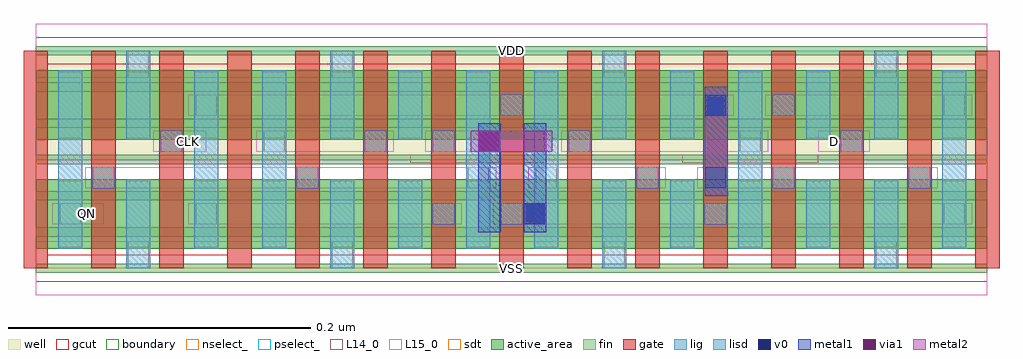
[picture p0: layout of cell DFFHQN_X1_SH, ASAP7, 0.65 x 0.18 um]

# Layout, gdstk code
import gdstk
lib = gdstk.Library(unit=1e-6, precision=1e-09)
def R(c, l, rs):  # rectangles x0, y0, x1, y1
    for r in rs: c.add(gdstk.rectangle(r[:2], r[2:], *l))
def A(c, l, x, y, w, h, nx, ny, dx, dy):  # array of equal rectangles
    R(c, l, [(x+i*dx, y+j*dy, x+i*dx+w, y+j*dy+h) for i in range(nx) for j in range(ny)])
def P(c, l, *ps):  # polygons
    for p in ps: c.add(gdstk.Polygon(p, *l))
well = (1, 0)
fin = (2, 0)
gate = (7, 0)
gcut = (10, 0)
active_area = (11, 0)
nselect_ = (12, 0)
pselect_ = (13, 0)
L14_0 = (14, 0)
L15_0 = (15, 0)
lig = (16, 0)
lisd = (17, 0)
v0 = (18, 0)
metal1 = (19, 0)
metal2 = (20, 0)
via1 = (21, 0)
sdt = (88, 0)
boundary = (100, 0)

dffhqn_x1_sh = lib.new_cell('DFFHQN_X1_SH')
R(dffhqn_x1_sh, well, [(0,0.072,0.63,0.144)])
A(dffhqn_x1_sh, fin, 0, -0.003, 0.63, 0.006, 1, 7, 0, 0.024)
A(dffhqn_x1_sh, gate, -0.008, 0, 0.016, 0.144, 15, 1, 0.045, 0)
R(dffhqn_x1_sh, gcut, [(0.248,0.07,0.338,0.075), (0.428,0.07,0.518,0.075)])
P(dffhqn_x1_sh, gcut, [(0,-0.009),(0,0),(-0.008,0),(-0.008,0.135),(0.008,0.135),(0.008,0.009),(0.127,0.009),(0.127,0.135),(0.143,0.135),(0.143,0.009),(0.622,0.009),(0.622,0.135),(-0.008,0.135),(-0.008,0.144),(0,0.144),(0,0.153),(0.63,0.153),(0.63,0.144),(0.638,0.144),(0.638,0),(0.63,0),(0.63,-0.009)])
R(dffhqn_x1_sh, active_area, [(0,0.013,0.63,0.059), (0,0.085,0.63,0.131)])
R(dffhqn_x1_sh, nselect_, [(0,0,0.63,0.072)])
R(dffhqn_x1_sh, pselect_, [(0,0.072,0.63,0.144)])
A(dffhqn_x1_sh, L14_0, 0.196, 0, 0.014, 0.018, 3, 2, 0.18, 0.126)
A(dffhqn_x1_sh, L14_0, 0.398, 0.053, 0.014, 0.014, 3, 1, 0.09, 0)
R(dffhqn_x1_sh, L14_0, [(0.061,0,0.075,0.018), (0.016,0.029,0.03,0.043), (0.106,0.029,0.12,0.043), (0.263,0.029,0.277,0.043), (0.308,0.029,0.322,0.043), (0.443,0.029,0.457,0.043), (0.601,0.029,0.615,0.043), (0.038,0.053,0.052,0.067), (0.173,0.053,0.187,0.067), (0.286,0.053,0.3,0.067), (0.331,0.053,0.345,0.067), (0.083,0.077,0.097,0.091), (0.151,0.077,0.165,0.091), (0.218,0.077,0.232,0.091), (0.263,0.077,0.277,0.091), (0.353,0.077,0.367,0.091), (0.466,0.077,0.48,0.091), (0.533,0.077,0.547,0.091), (0.106,0.101,0.12,0.115), (0.308,0.101,0.322,0.115), (0.443,0.101,0.457,0.115), (0.488,0.101,0.502,0.115), (0.601,0.101,0.615,0.115), (0.061,0.126,0.075,0.144)])
R(dffhqn_x1_sh, L15_0, [(0,-0.018,0.63,0.018), (0.011,0.029,0.045,0.043), (0.101,0.029,0.282,0.043), (0.303,0.029,0.62,0.043), (0.033,0.053,0.305,0.067), (0.326,0.053,0.417,0.067), (0.438,0.053,0.597,0.067), (0.078,0.077,0.113,0.091), (0.146,0.077,0.237,0.091), (0.258,0.077,0.315,0.091), (0.348,0.077,0.485,0.091), (0.518,0.077,0.552,0.091), (0.101,0.101,0.462,0.115), (0.483,0.101,0.62,0.115), (0,0.126,0.63,0.162)])
A(dffhqn_x1_sh, lig, 0.398, 0.053, 0.014, 0.014, 3, 1, 0.09, 0)
R(dffhqn_x1_sh, lig, [(0.263,0.029,0.277,0.043), (0.308,0.029,0.322,0.043), (0.443,0.029,0.457,0.043), (0.038,0.053,0.052,0.067), (0.173,0.053,0.187,0.067), (0.083,0.077,0.097,0.091), (0.218,0.077,0.232,0.091), (0.263,0.077,0.277,0.091), (0.353,0.077,0.367,0.091), (0.533,0.077,0.547,0.091), (0.308,0.101,0.322,0.115), (0.443,0.101,0.457,0.115), (0.488,0.101,0.502,0.115)])
A(dffhqn_x1_sh, lisd, 0.195, 0, 0.016, 0.059, 3, 2, 0.18, 0.085)
A(dffhqn_x1_sh, lisd, 0.33, 0.013, 0.016, 0.118, 3, 1, 0.135, 0)
R(dffhqn_x1_sh, lisd, [(0.06,0,0.076,0.059), (0.015,0.013,0.031,0.131), (0.105,0.013,0.121,0.131), (0.15,0.013,0.166,0.131), (0.24,0.013,0.256,0.059), (0.285,0.013,0.301,0.131), (0.42,0.013,0.436,0.059), (0.51,0.013,0.526,0.059), (0.06,0.085,0.076,0.144), (0.24,0.085,0.256,0.131), (0.42,0.085,0.436,0.131), (0.51,0.085,0.526,0.131)])
R(dffhqn_x1_sh, v0, [(0.323,0.029,0.337,0.043), (0.443,0.053,0.457,0.067), (0.293,0.077,0.307,0.091), (0.443,0.101,0.457,0.115)])
R(dffhqn_x1_sh, metal1, [(0.293,0.024,0.308,0.096), (0.323,0.024,0.338,0.096), (0.443,0.048,0.458,0.12)])
R(dffhqn_x1_sh, metal2, [(0.288,0.077,0.342,0.091)])
R(dffhqn_x1_sh, via1, [(0.293,0.077,0.307,0.091), (0.323,0.077,0.337,0.091)])
A(dffhqn_x1_sh, sdt, 0.015, 0.014, 0.016, 0.044, 14, 2, 0.045, 0.072)
R(dffhqn_x1_sh, boundary, [(0,0,0.63,0.144)])
dffhqn_x1_sh.add(gdstk.Label('CLK', (0.101,0.084), layer=15, texttype=251))
dffhqn_x1_sh.add(gdstk.Label('VSS', (0.315,0), layer=15, texttype=251))
dffhqn_x1_sh.add(gdstk.Label('VDD', (0.315,0.144), layer=15, texttype=251))
dffhqn_x1_sh.add(gdstk.Label('QN', (0.034,0.036), layer=15, texttype=251))
dffhqn_x1_sh.add(gdstk.Label('VSS', (0.315,0), layer=15, texttype=251))
dffhqn_x1_sh.add(gdstk.Label('VDD', (0.315,0.144), layer=15, texttype=251))
dffhqn_x1_sh.add(gdstk.Label('D', (0.529,0.084), layer=15, texttype=251))
dffhqn_x1_sh.add(gdstk.Label('VSS', (0.315,0), layer=15, texttype=251))
dffhqn_x1_sh.add(gdstk.Label('VDD', (0.315,0.144), layer=15, texttype=251))
dffhqn_x1_sh.add(gdstk.Label('VSS', (0.315,0), layer=3, texttype=251))
dffhqn_x1_sh.add(gdstk.Label('VSS', (0.315,0), layer=3, texttype=251))
dffhqn_x1_sh.add(gdstk.Label('VSS', (0.315,0), layer=3, texttype=251))
dffhqn_x1_sh.add(gdstk.Label('VDD', (0.315,0.144), layer=1, texttype=251))
dffhqn_x1_sh.add(gdstk.Label('VDD', (0.315,0.144), layer=1, texttype=251))
dffhqn_x1_sh.add(gdstk.Label('VDD', (0.315,0.144), layer=1, texttype=251))

lib.write_gds('DFFHQN_X1_SH.gds')
